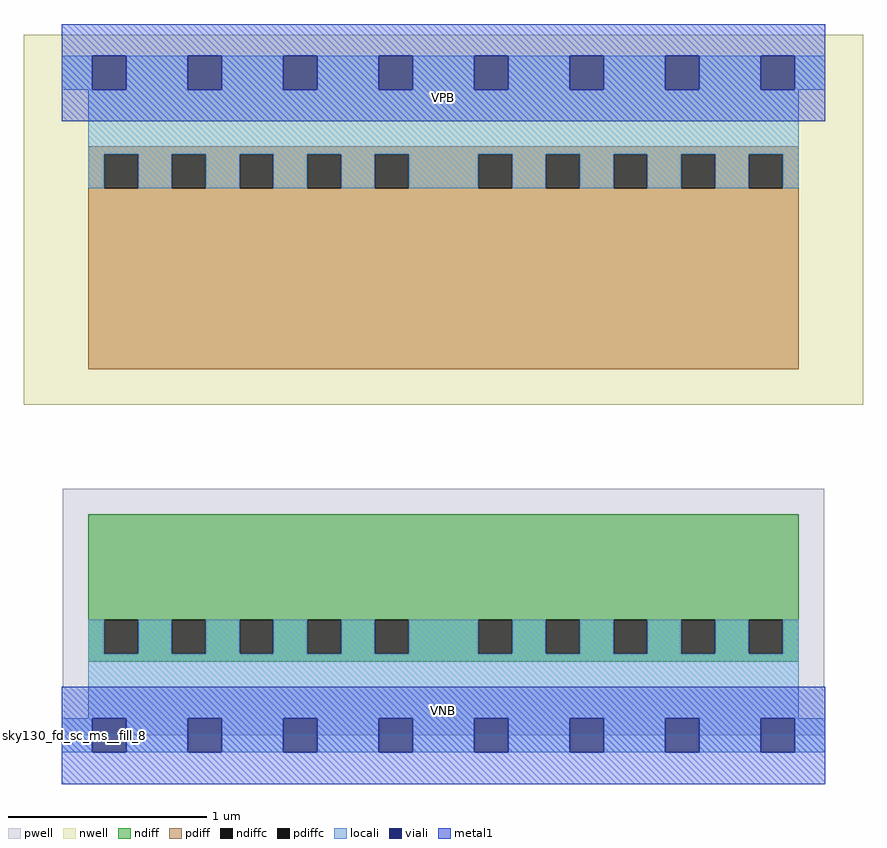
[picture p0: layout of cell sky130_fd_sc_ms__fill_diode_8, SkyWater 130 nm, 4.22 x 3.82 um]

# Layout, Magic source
magic
tech sky130A
magscale 1 2
<< nwell >>
rect -38 332 806 704
<< pwell >>
rect 1 49 767 248
rect 0 0 768 49
<< ndiff >>
rect 27 116 741 222
rect 27 82 43 116
rect 77 82 111 116
rect 145 82 179 116
rect 213 82 247 116
rect 281 82 315 116
rect 349 82 419 116
rect 453 82 487 116
rect 521 82 555 116
rect 589 82 623 116
rect 657 82 691 116
rect 725 82 741 116
rect 27 74 741 82
<< pdiff >>
rect 27 584 741 592
rect 27 550 43 584
rect 77 550 111 584
rect 145 550 179 584
rect 213 550 247 584
rect 281 550 315 584
rect 349 550 419 584
rect 453 550 487 584
rect 521 550 555 584
rect 589 550 623 584
rect 657 550 691 584
rect 725 550 741 584
rect 27 368 741 550
<< ndiffc >>
rect 43 82 77 116
rect 111 82 145 116
rect 179 82 213 116
rect 247 82 281 116
rect 315 82 349 116
rect 419 82 453 116
rect 487 82 521 116
rect 555 82 589 116
rect 623 82 657 116
rect 691 82 725 116
<< pdiffc >>
rect 43 550 77 584
rect 111 550 145 584
rect 179 550 213 584
rect 247 550 281 584
rect 315 550 349 584
rect 419 550 453 584
rect 487 550 521 584
rect 555 550 589 584
rect 623 550 657 584
rect 691 550 725 584
<< locali >>
rect 0 649 31 683
rect 65 649 127 683
rect 161 649 223 683
rect 257 649 319 683
rect 353 649 415 683
rect 449 649 511 683
rect 545 649 607 683
rect 641 649 703 683
rect 737 649 768 683
rect 27 584 741 649
rect 27 550 43 584
rect 77 550 111 584
rect 145 550 179 584
rect 213 550 247 584
rect 281 550 315 584
rect 349 550 419 584
rect 453 550 487 584
rect 521 550 555 584
rect 589 550 623 584
rect 657 550 691 584
rect 725 550 741 584
rect 27 82 43 116
rect 77 82 111 116
rect 145 82 179 116
rect 213 82 247 116
rect 281 82 315 116
rect 349 82 419 116
rect 453 82 487 116
rect 521 82 555 116
rect 589 82 623 116
rect 657 82 691 116
rect 725 82 741 116
rect 27 17 741 82
rect 0 -17 31 17
rect 65 -17 127 17
rect 161 -17 223 17
rect 257 -17 319 17
rect 353 -17 415 17
rect 449 -17 511 17
rect 545 -17 607 17
rect 641 -17 703 17
rect 737 -17 768 17
<< viali >>
rect 31 649 65 683
rect 127 649 161 683
rect 223 649 257 683
rect 319 649 353 683
rect 415 649 449 683
rect 511 649 545 683
rect 607 649 641 683
rect 703 649 737 683
rect 31 -17 65 17
rect 127 -17 161 17
rect 223 -17 257 17
rect 319 -17 353 17
rect 415 -17 449 17
rect 511 -17 545 17
rect 607 -17 641 17
rect 703 -17 737 17
<< metal1 >>
rect 0 683 768 715
rect 0 649 31 683
rect 65 649 127 683
rect 161 649 223 683
rect 257 649 319 683
rect 353 649 415 683
rect 449 649 511 683
rect 545 649 607 683
rect 641 649 703 683
rect 737 649 768 683
rect 0 617 768 649
rect 0 17 768 49
rect 0 -17 31 17
rect 65 -17 127 17
rect 161 -17 223 17
rect 257 -17 319 17
rect 353 -17 415 17
rect 449 -17 511 17
rect 545 -17 607 17
rect 641 -17 703 17
rect 737 -17 768 17
rect 0 -49 768 -17
<< labels >>
flabel pwell s 0 0 768 49 0 FreeSans 200 0 0 0 VNB
port 2 nsew ground bidirectional
flabel nwell s 0 617 768 666 0 FreeSans 200 0 0 0 VPB
port 3 nsew power bidirectional
rlabel comment s 0 0 0 0 4 sky130_fd_sc_ms__fill_8
flabel metal1 s 0 617 768 666 0 FreeSans 200 0 0 0 VPWR
port 4 nsew power bidirectional abutment
flabel metal1 s 0 0 768 49 0 FreeSans 200 0 0 0 VGND
port 1 nsew ground bidirectional abutment
<< properties >>
string LEFsite unit
string LEFclass CORE SPACER
string FIXED_BBOX 0 0 768 666
string GDS_FILE $PDKPATH/libs.ref/sky130_fd_sc_ms/gds/sky130_fd_sc_ms.gds
string LEFsymmetry X Y
string GDS_END 1227982
string GDS_START 1224240
<< end >>
